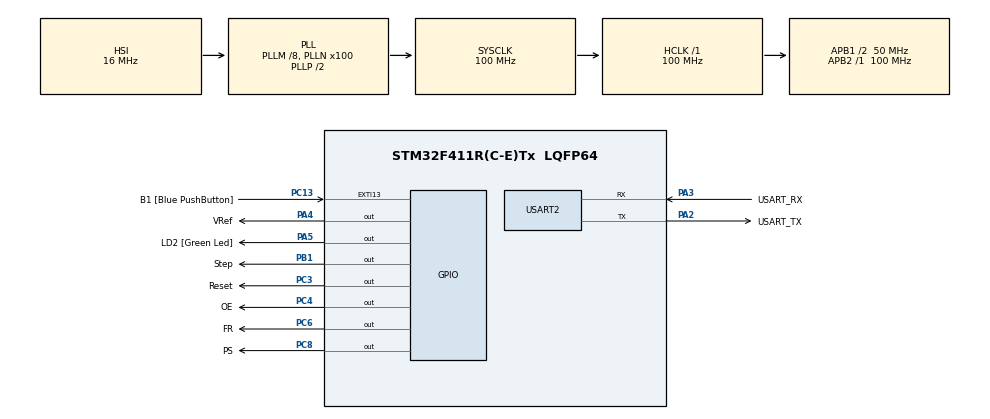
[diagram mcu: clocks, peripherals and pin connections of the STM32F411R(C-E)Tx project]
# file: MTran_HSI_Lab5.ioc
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Mcu.Family=STM32F4
Mcu.Name=STM32F411R(C-E)Tx
Mcu.Package=LQFP64
NVIC.PriorityGroup=NVIC_PRIORITYGROUP_0
NVIC.TIM1_TRG_COM_TIM11_IRQn=true\:0\:0\:false\:false\:true\:true\:true\:true
PA13.GPIO_Label=TMS
PA13.Mode=Serial_Wire
PA13.Signal=SYS_JTMS-SWDIO
PA14.GPIO_Label=TCK
PA14.Mode=Serial_Wire
PA14.Signal=SYS_JTCK-SWCLK
PA2.GPIO_Label=USART_TX
PA2.Mode=Asynchronous
PA2.Signal=USART2_TX
PA3.GPIO_Label=USART_RX
PA3.Mode=Asynchronous
PA3.Signal=USART2_RX
PA4.GPIO_Label=VRef
PA4.Signal=GPIO_Output
PA5.GPIO_Label=LD2 [Green Led]
PA5.Signal=GPIO_Output
PB1.GPIO_Label=Step
PB1.Signal=GPIO_Output
PB3.GPIO_Label=SWO
PB3.Signal=SYS_JTDO-SWO
PC13-ANTI_TAMP.GPIO_Label=B1 [Blue PushButton]
PC13-ANTI_TAMP.GPIO_ModeDefaultEXTI=GPIO_MODE_IT_FALLING
PC13-ANTI_TAMP.Signal=GPXTI13
PC14-OSC32_IN.Mode=LSE-External-Oscillator
PC14-OSC32_IN.Signal=RCC_OSC32_IN
PC15-OSC32_OUT.Mode=LSE-External-Oscillator
PC15-OSC32_OUT.Signal=RCC_OSC32_OUT
PC3.GPIO_Label=Reset
PC3.Signal=GPIO_Output
PC4.GPIO_Label=OE
PC4.Signal=GPIO_Output
PC6.GPIO_Label=FR
PC6.Signal=GPIO_Output
PC8.GPIO_Label=PS
PC8.Signal=GPIO_Output
PH0\ -\ OSC_IN.Mode=HSE-External-Clock-Source
PH0\ -\ OSC_IN.Signal=RCC_OSC_IN
PH1\ -\ OSC_OUT.Mode=HSE-External-Clock-Source
PH1\ -\ OSC_OUT.Signal=RCC_OSC_OUT
ProjectManager.HeapSize=0x200
ProjectManager.StackSize=0x400
ProjectManager.TargetToolchain=STM32CubeIDE
RCC.48MHZClocksFreq_Value=50000000
RCC.AHBFreq_Value=100000000
RCC.APB1CLKDivider=RCC_HCLK_DIV2
RCC.APB1Freq_Value=50000000
RCC.APB1TimFreq_Value=100000000
RCC.APB2Freq_Value=100000000
RCC.APB2TimFreq_Value=100000000
RCC.CortexFreq_Value=100000000
RCC.FLatency-AdvancedSettings=FLASH_LATENCY_3
RCC.HCLKFreq_Value=100000000
RCC.HSE_VALUE=8000000
RCC.HSI_VALUE=16000000
RCC.PLLM=8
RCC.PLLN=100
RCC.SYSCLKFreq_VALUE=100000000
RCC.SYSCLKSource=RCC_SYSCLKSOURCE_PLLCLK
RCC.VCOOutputFreq_Value=200000000
TIM11.Period=499
TIM11.Prescaler=99
USART2.VirtualMode=VM_ASYNC
VP_TIM11_VS_ClockSourceINT.Mode=Enable_Timer
board=NUCLEO-F411RE

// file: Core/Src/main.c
/* USER CODE BEGIN Header */
/**
  ******************************************************************************
  * @file           : main.c
  * @brief          : Main program body
  ******************************************************************************
  * @attention
  *
  * Copyright (c) 2024 STMicroelectronics.
  * All rights reserved.
  *
  * This software is licensed under terms that can be found in the LICENSE file
  * in the root directory of this software component.
  * If no LICENSE file comes with this software, it is provided AS-IS.
  *
  ******************************************************************************
  */
/*
* FILE : main.c
* PROJECT : Stepper Motor - Lab5
* PROGRAMMER : Minh Quan Tran
* FIRST VERSION : 2024 - 10 - 10
* DESCRIPTION : This file is the main code file to use timer to control the stepper motor
*/
/* USER CODE END Header */
#include "main.h"

/* USER CODE BEGIN Includes */
#include <stdio.h>
#include <stdlib.h>
#include <stdbool.h>
/* USER CODE END Includes */

/* USER CODE BEGIN PTD */
typedef enum
{
	IN_PROCESS,
	DONE
} motorStatus_t;
/* USER CODE END PTD */

/* USER CODE BEGIN PD */
#define PUTCHAR_PROTOTYPE int __io_putchar(int ch)
#define GETCHAR_PROTOTYPE int __io_getchar (void)

#define RAMP_STEP 450

#define MAX_DELAY 5000
#define MIN_DELAY 50

#define USE_INTERRUPT
#define ADVANCE

// Define the min macro
#define MIN(a, b) ((a) < (b) ? (a) : (b))

/* USER CODE END PD */

TIM_HandleTypeDef htim11;

UART_HandleTypeDef huart2;

/* USER CODE BEGIN PV */
motorStatus_t runFlag = IN_PROCESS;
int32_t numberOfSteps = 1600;
/* USER CODE END PV */

void SystemClock_Config(void);
static void MX_GPIO_Init(void);
static void MX_USART2_UART_Init(void);
static void MX_TIM11_Init(void);

/* USER CODE BEGIN 0 */

/* FUNCTION : microDelay
*
* DESCRIPTION : This function is create to delay in micro second by counting the
* 				number of ticks has pass using the CNT register
*
* PARAMETERS : uint32_t usDelay  - duration of delay
* RETURNS 	 : NONE
*
*/
void microDelay(uint32_t usDelay)
{
    // Get the current timer counter value
    uint32_t startTime = __HAL_TIM_GET_COUNTER(&htim11);
    uint32_t ticks = usDelay - 1; // 1 ticks = 1 us

    // Poll the CNT register until the specified number of ticks has passed
    while ((__HAL_TIM_GET_COUNTER(&htim11) - startTime) < ticks)
    {
        // Wait until the timer reaches the required ticks
    }
}

/* FUNCTION : stepInit
*
* DESCRIPTION : This function is to initalize the stepper motor
*
* PARAMETERS : NONE
* RETURNS 	 : NONE
*
*/
void stepInit(void)
{
	HAL_GPIO_WritePin(GPIOC,Reset_Pin,GPIO_PIN_SET); // High - Normal operation, Low - Reset
	HAL_GPIO_WritePin(GPIOC,PS_Pin,GPIO_PIN_SET);    // High - Operation mode, Low - Standby mode
	HAL_GPIO_WritePin(GPIOA,VRef_Pin,GPIO_PIN_SET);  // High - 100% current, Low - 0 current
	printf("Inital Motor \r\n");
}

/* FUNCTION : stepEnable
*
* DESCRIPTION : This function is to enable and disable the stepper motor
*
* PARAMETERS : bool enable: flag to enable or disable motor
* RETURNS 	 : NONE
*
*/
void stepEnable(bool enable)
{
	if(!enable)
	{
		HAL_GPIO_WritePin(GPIOC,OE_Pin,GPIO_PIN_SET);
		printf("Disable Motor\r\n");
	}
	else
	{
		HAL_GPIO_WritePin(GPIOC,OE_Pin,GPIO_PIN_RESET);
		printf("Enable Motor\r\n");
	}
	return;
}

/* FUNCTION : stepSteps
*
* DESCRIPTION : This function is to control the number of step and how long a step
* 				will run in the stepper motor
*
* PARAMETERS :
* int32_t numberOfSteps - number of step motor will run
* uint32_t usDelay      - how much delay (in microsecond) for 1 step
*
* RETURNS 	 : NONE
*
*/
void stepSteps(int32_t numberOfSteps, uint32_t usDelay)
{
#ifdef USE_INTERRUPT
	runFlag = IN_PROCESS;

	htim11.Init.Period = usDelay / 2 - 1;
	if (HAL_TIM_Base_Init(&htim11) != HAL_OK)
	{
		Error_Handler();
	}
	HAL_TIM_Base_Start_IT(&htim11);

	//Wait until finish step
	while(runFlag == IN_PROCESS);

#else // Basic (No interrupt needed)

	// Tell which direction the motor is running
	if (numberOfSteps > 0)
	{
		HAL_GPIO_WritePin(GPIOC,FR_Pin,GPIO_PIN_SET);
	}
	else
	{
		HAL_GPIO_WritePin(GPIOC,FR_Pin,GPIO_PIN_RESET);
	}

	printf("Stepping Motor\r\n");
	for (int i = 0; i < abs(numberOfSteps); i++)
	{
		HAL_GPIO_WritePin(GPIOB,Step_Pin,GPIO_PIN_SET);
		microDelay(usDelay / 2);
		HAL_GPIO_WritePin(GPIOB,Step_Pin,GPIO_PIN_RESET);
		microDelay(usDelay / 2);
	}
	printf("Finish Stepping\r\n");
#endif

}

#ifdef ADVANCE
/* FUNCTION : runTrapezoidalMotion
*
* DESCRIPTION : This function is to run the motor using the trapezoidal motion where it accelerate
* 				and decelerate for the number of ramp step
*
* PARAMETERS :
* int32_t numberOfSteps - number of step motor will run
* uint32_t usDelay      - how much delay (in microsecond) for 1 step
*
* RETURNS 	 : NONE
*
*/
void runTrapezoidalMotion(int32_t numberOfSteps, uint32_t usDelay)
{
	// Tell which direction the motor is running
	if (numberOfSteps > 0)
	{
		HAL_GPIO_WritePin(GPIOC,FR_Pin,GPIO_PIN_SET);
	}
	else
	{
		HAL_GPIO_WritePin(GPIOC,FR_Pin,GPIO_PIN_RESET);
	}

	numberOfSteps = abs(numberOfSteps);

    // Ensure number of rampSteps is not greater than half of the total number of steps
    int32_t rampSteps = MIN(RAMP_STEP, numberOfSteps / 2);

    // Middle steps at max speed
    int32_t middleSteps = numberOfSteps - 2 * rampSteps;

    printf("Stepping Motor\r\n");
    // Acceleration Phase
    for (int32_t i = 0; i < rampSteps; i++)
    {
        // Linearly interpolate delay between max speed and min speed
        uint32_t currentDelay = MAX_DELAY - (MAX_DELAY - usDelay) * i / rampSteps;
        stepSteps(1, currentDelay);
    }

    // Constant Speed Phase
    for (int32_t i = 0; i < middleSteps; i++)
    {
        stepSteps(1, usDelay);  //Intended speed
    }

    // Deceleration Phase
    for (int32_t i = 0; i < rampSteps; i++)
    {
        // Linearly interpolate delay between minUsDelay and maxUsDelay
        uint32_t currentDelay = usDelay + (MAX_DELAY - usDelay) * i / rampSteps;
        stepSteps(1, currentDelay);
    }

    printf("Finish Stepping\r\n");
}
#endif

/* FUNCTION : HAL_TIM_PeriodElapsedCallback
*
* DESCRIPTION : This function is used to toggle LED whenever the timer overflow
*
* PARAMETERS : NONE
* RETURNS 	 : NONE
*
*/
void HAL_TIM_PeriodElapsedCallback(TIM_HandleTypeDef *htim)
{
    if (htim->Instance == TIM11)
    {
        HAL_GPIO_TogglePin(GPIOB, Step_Pin);
        static uint32_t stepCount = 0;
        stepCount++;
#ifdef ADVANCE
        if (stepCount > 2)
        {
        	HAL_TIM_Base_Stop_IT(&htim11);
        	stepCount = 0;
        	runFlag = DONE;
        }
#else
        if (stepCount > abs(numberOfSteps) * 2)
        {
        	HAL_TIM_Base_Stop_IT(&htim11);
        	stepCount = 0;
        	runFlag = DONE;
        }
#endif
    }
}

/* USER CODE END 0 */

int main(void)
{

  /* USER CODE BEGIN 1 */
	bool enableFlag = 0;
	uint16_t delay = 500;

	int doPrompt = 1;
  /* USER CODE END 1 */

  /* MCU Configuration--------------------------------------------------------*/

  /* Reset of all peripherals, Initializes the Flash interface and the Systick. */
  HAL_Init();

  /* Configure the system clock */
  SystemClock_Config();

  /* Initialize all configured peripherals */
  MX_GPIO_Init();
  MX_USART2_UART_Init();
  MX_TIM11_Init();
  /* USER CODE BEGIN 2 */
  stepInit();

#ifndef USE_INTERRUPT
  HAL_TIM_Base_Start(&htim11);
#endif
  /* USER CODE END 2 */

  /* Infinite loop */
  /* USER CODE BEGIN WHILE */
  while (1)
  {
	  if(doPrompt != 0)
	  {
		  doPrompt = 0;
		  printf(PROMPT);
	  }

	  switch(GetCharFromUART2())
	  {
	  case '0':
		  enableFlag = !enableFlag;
		  stepEnable(enableFlag);
		  break;
	  case '1':
		  numberOfSteps += 400; // Rotate an addition 90o
		  printf("Set steps = %ld, Set delay = %u \r\n",numberOfSteps, delay );
		  break;
	  case '2':
		  numberOfSteps -= 400; // Reduce 90 degree
		  printf("Set steps = %ld, Set delay = %u \r\n",numberOfSteps, delay );
		  break;
	  case '3':
		  if (delay < MAX_DELAY)
		  {
			  delay += 50;
			  printf("Set steps = %ld, Set delay = %u \r\n",numberOfSteps, delay );
		  }
		  else
		  {
			  printf("Delay can't be higher than %duS\r\n", MAX_DELAY);
		  }
		  break;
	  case '4':
		  if (delay > MIN_DELAY)
		  {
			  delay -= 50;
			  printf("Set steps = %ld, Set delay = %u \r\n",numberOfSteps, delay );
		  }
		  else
		  {
			  printf("Delay can't be lower than %duS\r\n", MIN_DELAY);
		  }
		  break;
	  case '5':
#ifdef ADVANCE
		  runTrapezoidalMotion(numberOfSteps,delay);
#else
		  stepSteps(numberOfSteps,delay);
		  printf("RUNNING\r\n");
#endif
		  break;
	  case TIMEOUT_ERROR:
		  printf("Prompt timeout\r\n");
		  break;
	  default:
		  break;
	  }

    /* USER CODE END WHILE */

  }
}

void SystemClock_Config(void)
{
  RCC_OscInitTypeDef RCC_OscInitStruct = {0};
  RCC_ClkInitTypeDef RCC_ClkInitStruct = {0};

  /** Configure the main internal regulator output voltage
  */
  __HAL_RCC_PWR_CLK_ENABLE();
  __HAL_PWR_VOLTAGESCALING_CONFIG(PWR_REGULATOR_VOLTAGE_SCALE1);

  /** Initializes the RCC Oscillators according to the specified parameters
  * in the RCC_OscInitTypeDef structure.
  */
  RCC_OscInitStruct.OscillatorType = RCC_OSCILLATORTYPE_HSI;
  RCC_OscInitStruct.HSIState = RCC_HSI_ON;
  RCC_OscInitStruct.HSICalibrationValue = RCC_HSICALIBRATION_DEFAULT;
  RCC_OscInitStruct.PLL.PLLState = RCC_PLL_ON;
  RCC_OscInitStruct.PLL.PLLSource = RCC_PLLSOURCE_HSI;
  RCC_OscInitStruct.PLL.PLLM = 8;
  RCC_OscInitStruct.PLL.PLLN = 100;
  RCC_OscInitStruct.PLL.PLLP = RCC_PLLP_DIV2;
  RCC_OscInitStruct.PLL.PLLQ = 4;
  if (HAL_RCC_OscConfig(&RCC_OscInitStruct) != HAL_OK)
  {
    Error_Handler();
  }

  /** Initializes the CPU, AHB and APB buses clocks
  */
  RCC_ClkInitStruct.ClockType = RCC_CLOCKTYPE_HCLK|RCC_CLOCKTYPE_SYSCLK
                              |RCC_CLOCKTYPE_PCLK1|RCC_CLOCKTYPE_PCLK2;
  RCC_ClkInitStruct.SYSCLKSource = RCC_SYSCLKSOURCE_PLLCLK;
  RCC_ClkInitStruct.AHBCLKDivider = RCC_SYSCLK_DIV1;
  RCC_ClkInitStruct.APB1CLKDivider = RCC_HCLK_DIV2;
  RCC_ClkInitStruct.APB2CLKDivider = RCC_HCLK_DIV1;

  if (HAL_RCC_ClockConfig(&RCC_ClkInitStruct, FLASH_LATENCY_3) != HAL_OK)
  {
    Error_Handler();
  }
}

static void MX_TIM11_Init(void)
{

  htim11.Instance = TIM11;
  htim11.Init.Prescaler = 99;
  htim11.Init.CounterMode = TIM_COUNTERMODE_UP;
  htim11.Init.Period = 499;
  htim11.Init.ClockDivision = TIM_CLOCKDIVISION_DIV1;
  htim11.Init.AutoReloadPreload = TIM_AUTORELOAD_PRELOAD_DISABLE;
  if (HAL_TIM_Base_Init(&htim11) != HAL_OK)
  {
    Error_Handler();
  }

}

static void MX_USART2_UART_Init(void)
{

  huart2.Instance = USART2;
  huart2.Init.BaudRate = 115200;
  huart2.Init.WordLength = UART_WORDLENGTH_8B;
  huart2.Init.StopBits = UART_STOPBITS_1;
  huart2.Init.Parity = UART_PARITY_NONE;
  huart2.Init.Mode = UART_MODE_TX_RX;
  huart2.Init.HwFlowCtl = UART_HWCONTROL_NONE;
  huart2.Init.OverSampling = UART_OVERSAMPLING_16;
  if (HAL_UART_Init(&huart2) != HAL_OK)
  {
    Error_Handler();
  }

}

static void MX_GPIO_Init(void)
{
  GPIO_InitTypeDef GPIO_InitStruct = {0};

  /* GPIO Ports Clock Enable */
  __HAL_RCC_GPIOC_CLK_ENABLE();
  __HAL_RCC_GPIOH_CLK_ENABLE();
  __HAL_RCC_GPIOA_CLK_ENABLE();
  __HAL_RCC_GPIOB_CLK_ENABLE();

  /*Configure GPIO pin Output Level */
  HAL_GPIO_WritePin(GPIOC, Reset_Pin|OE_Pin|FR_Pin|PS_Pin, GPIO_PIN_RESET);

  /*Configure GPIO pin Output Level */
  HAL_GPIO_WritePin(GPIOA, VRef_Pin|LD2_Pin, GPIO_PIN_RESET);

  /*Configure GPIO pin Output Level */
  HAL_GPIO_WritePin(Step_GPIO_Port, Step_Pin, GPIO_PIN_RESET);

  /*Configure GPIO pin : B1_Pin */
  GPIO_InitStruct.Pin = B1_Pin;
  GPIO_InitStruct.Mode = GPIO_MODE_IT_FALLING;
  GPIO_InitStruct.Pull = GPIO_NOPULL;
  HAL_GPIO_Init(B1_GPIO_Port, &GPIO_InitStruct);

  /*Configure GPIO pins : Reset_Pin OE_Pin FR_Pin PS_Pin */
  GPIO_InitStruct.Pin = Reset_Pin|OE_Pin|FR_Pin|PS_Pin;
  GPIO_InitStruct.Mode = GPIO_MODE_OUTPUT_PP;
  GPIO_InitStruct.Pull = GPIO_NOPULL;
  GPIO_InitStruct.Speed = GPIO_SPEED_FREQ_LOW;
  HAL_GPIO_Init(GPIOC, &GPIO_InitStruct);

  /*Configure GPIO pins : VRef_Pin LD2_Pin */
  GPIO_InitStruct.Pin = VRef_Pin|LD2_Pin;
  GPIO_InitStruct.Mode = GPIO_MODE_OUTPUT_PP;
  GPIO_InitStruct.Pull = GPIO_NOPULL;
  GPIO_InitStruct.Speed = GPIO_SPEED_FREQ_LOW;
  HAL_GPIO_Init(GPIOA, &GPIO_InitStruct);

  /*Configure GPIO pin : Step_Pin */
  GPIO_InitStruct.Pin = Step_Pin;
  GPIO_InitStruct.Mode = GPIO_MODE_OUTPUT_PP;
  GPIO_InitStruct.Pull = GPIO_NOPULL;
  GPIO_InitStruct.Speed = GPIO_SPEED_FREQ_LOW;
  HAL_GPIO_Init(Step_GPIO_Port, &GPIO_InitStruct);

}

/* USER CODE BEGIN 4 */
PUTCHAR_PROTOTYPE
{/* Place your implementation of fputc here */
/* e.g. write a character to the USART1 and Loop until the end of transmission */
HAL_UART_Transmit(&huart2, (uint8_t *)&ch, 1, 0xFFFF);
return ch;
}
GETCHAR_PROTOTYPE
{uint8_t ch = 0;
// Clear the Overrun flag just before receiving the first character
__HAL_UART_CLEAR_OREFLAG(&huart2);
HAL_UART_Receive(&huart2, (uint8_t *)&ch, 1, 5);
return ch;
}
/* USER CODE END 4 */

void Error_Handler(void)
{
  __disable_irq();
  while (1)
  {
  }
}
